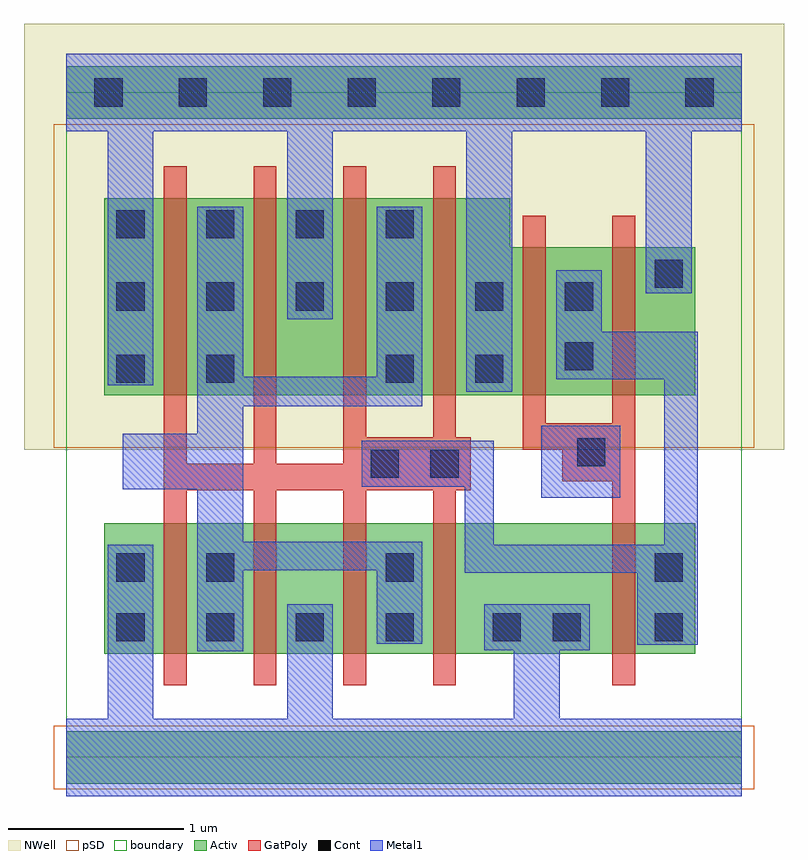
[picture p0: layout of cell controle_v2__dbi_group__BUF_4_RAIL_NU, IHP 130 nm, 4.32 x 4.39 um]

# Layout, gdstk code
import gdstk
lib = gdstk.Library(unit=1e-6, precision=1e-09)
def R(c, l, rs):  # rectangles x0, y0, x1, y1
    for r in rs: c.add(gdstk.rectangle(r[:2], r[2:], *l))
def A(c, l, x, y, w, h, nx, ny, dx, dy):  # array of equal rectangles
    R(c, l, [(x+i*dx, y+j*dy, x+i*dx+w, y+j*dy+h) for i in range(nx) for j in range(ny)])
def P(c, l, *ps):  # polygons
    for p in ps: c.add(gdstk.Polygon(p, *l))
Activ = (1, 0)
GatPoly = (5, 0)
Cont = (6, 0)
Metal1 = (8, 0)
pSD = (14, 0)
NWell = (31, 0)
boundary = (189, 4)

controle_v2__dbi_group__ = lib.new_cell('controle_v2__dbi_group__BUF_4_RAIL_NU')
R(controle_v2__dbi_group__, Activ, [(0,-0.15,3.84,0.15), (0.215,0.59,3.575,1.33), (0,3.63,3.84,3.93)])
P(controle_v2__dbi_group__, Activ, [(0.215,2.06),(0.215,3.18),(2.525,3.18),(2.525,2.9),(3.575,2.9),(3.575,2.06)])
P(controle_v2__dbi_group__, GatPoly, [(3.105,0.41),(3.105,1.57),(2.82,1.57),(2.82,1.75),(2.595,1.75),(2.595,3.08),(2.725,3.08),(2.725,1.9),(3.105,1.9),(3.105,3.08),(3.235,3.08),(3.235,0.41)],
  [(0.555,0.41),(0.555,3.36),(0.685,3.36),(0.685,1.67),(1.065,1.67),(1.065,3.36),(1.195,3.36),(1.195,1.67),(1.575,1.67),(1.575,3.36),(1.705,3.36),(1.705,1.82),(2.085,1.82),(2.085,3.36),(2.215,3.36),(2.215,1.82),(2.3,1.82),(2.3,1.52),(2.215,1.52),(2.215,0.41),(2.085,0.41),(2.085,1.52),(1.705,1.52),(1.705,0.41),(1.575,0.41),(1.575,1.52),(1.195,1.52),(1.195,0.41),(1.065,0.41),(1.065,1.52),(0.685,1.52),(0.685,0.41)])
A(controle_v2__dbi_group__, Cont, 0.285, 0.66, 0.16, 0.16, 4, 2, 0.51, 2.29)
A(controle_v2__dbi_group__, Cont, 0.285, 2.54, 0.16, 0.16, 6, 1, 0.51, 0)
R(controle_v2__dbi_group__, Cont, [(2.425,0.66,2.585,0.82), (2.765,0.66,2.925,0.82), (3.345,0.66,3.505,0.82), (0.285,1,0.445,1.16), (0.795,1,0.955,1.16), (1.815,1,1.975,1.16), (3.345,1,3.505,1.16), (1.73,1.59,1.89,1.75), (2.07,1.59,2.23,1.75), (2.905,1.655,3.065,1.815), (0.285,2.13,0.445,2.29), (0.795,2.13,0.955,2.29), (1.815,2.13,1.975,2.29), (2.325,2.13,2.485,2.29), (2.835,2.2,2.995,2.36), (3.345,2.67,3.505,2.83), (0.16,3.7,0.32,3.86), (0.16,3.7,0.32,3.86), (0.64,3.7,0.8,3.86), (0.64,3.7,0.8,3.86), (1.12,3.7,1.28,3.86), (1.12,3.7,1.28,3.86), (1.6,3.7,1.76,3.86), (1.6,3.7,1.76,3.86), (2.08,3.7,2.24,3.86), (2.08,3.7,2.24,3.86), (2.56,3.7,2.72,3.86), (2.56,3.7,2.72,3.86), (3.04,3.7,3.2,3.86), (3.04,3.7,3.2,3.86), (3.52,3.7,3.68,3.86), (3.52,3.7,3.68,3.86)])
R(controle_v2__dbi_group__, Metal1, [(2.7,1.475,3.15,1.885)])
P(controle_v2__dbi_group__, Metal1, [(0.745,0.605),(0.745,1.525),(0.32,1.525),(0.32,1.84),(0.745,1.84),(0.745,3.13),(1.005,3.13),(1.005,2.165),(1.765,2.165),(1.765,3.13),(2.025,3.13),(2.025,1.995),(1.005,1.995),(1.005,1.225),(2.025,1.225),(2.025,0.645),(1.765,0.645),(1.765,1.065),(1.005,1.065),(1.005,0.605)],
  [(3.245,0.64),(3.245,1.05),(2.265,1.05),(2.265,1.54),(1.68,1.54),(1.68,1.8),(2.43,1.8),(2.43,1.21),(3.4,1.21),(3.4,2.15),(2.785,2.15),(2.785,2.77),(3.045,2.77),(3.045,2.42),(3.59,2.42),(3.59,0.64)],
  [(2.275,2.08),(2.275,3.56),(1.515,3.56),(1.515,2.49),(1.255,2.49),(1.255,3.56),(0.495,3.56),(0.495,2.115),(0.235,2.115),(0.235,3.56),(0,3.56),(0,4),(3.84,4),(3.84,3.56),(3.555,3.56),(3.555,2.64),(3.295,2.64),(3.295,3.56),(2.535,3.56),(2.535,2.08)],
  [(0,-0.22),(0,0.22),(0.235,0.22),(0.235,1.21),(0.495,1.21),(0.495,0.22),(1.255,0.22),(1.255,0.87),(1.515,0.87),(1.515,0.22),(2.545,0.22),(2.545,0.61),(2.375,0.61),(2.375,0.87),(2.975,0.87),(2.975,0.61),(2.805,0.61),(2.805,0.22),(3.84,0.22),(3.84,-0.22)])
R(controle_v2__dbi_group__, pSD, [(-0.07,-0.18,3.91,0.18), (-0.07,1.76,3.91,3.6)])
R(controle_v2__dbi_group__, NWell, [(-0.24,1.75,4.08,4.17)])
R(controle_v2__dbi_group__, boundary, [(0,0,3.84,3.78)])

lib.write_gds('controle_v2__dbi_group__BUF_4_RAIL_NU.gds')
